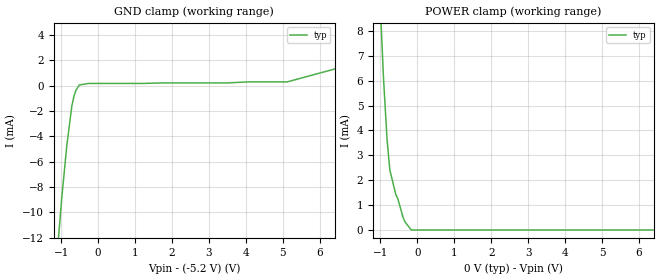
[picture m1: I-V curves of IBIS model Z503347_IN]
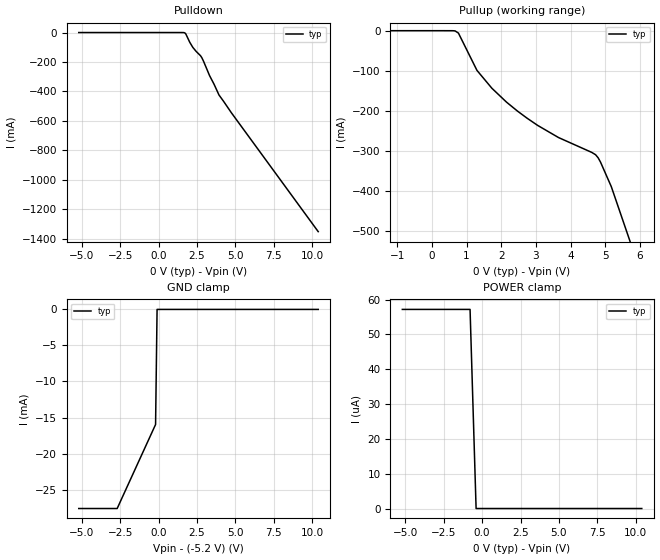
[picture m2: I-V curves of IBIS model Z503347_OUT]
| YOU ARE ONLY AUTHORIZED TO USE THIS SOFTWARE
| ACCORDING TO LICENSOR'S LICENSE RESTRICTIONS.
[IBIS Ver] 3.1
[File Name] mc10131p.ibs
[File Rev] 2.0
[Source] Measured and created by ICX Technology
[Date] Friday 7/14/00 9:07:46 AM
[Copyright]
| (C) COPYRIGHT 1993-2000
| MENTOR GRAPHICS CORPORATION
| ICX STANDARD LIBRARY, ICX PROJECT MODELING,
| ICX CUSTOM MODELING, ICX VENDOR MODEL
| ALL RIGHTS RESERVED.
| THE FOLLOWING ARE TRADEMARKS OR SERVICE MARKS OF
| MENTOR GRAPHICS CORPORATION:ICX (R), ICX STANDARD
| LIBRARY(R), ICX PROJECT MODELING(R), ICX CUSTOM
| MODELING(R), qualityIBIS(TM), MODELVIEWER(TM),
| AND MODELEDITOR(TM)
| ALL COPIES OF SOFTWARE, INCLUDING BUT NOT LIMITED TO
| ANY MODIFICATIONS, ENHANCEMENTS OR DERIVATIVE WORKS,
| MUST CONTAIN ALL MENTOR GRAPHICS CORPORATION'S
| NOTICES AND LEGENDS, INCLUDING THOSE EMBEDDED IN
| SOFTWARE AND THOSE AFFIXED TO SOFTWARE MEDIUM
| AND CONTAINER, AS RECEIVED FROM MENTOR GRAPHICS
| CORPORATION.
|  ZAP Model Builder 2.7
[Component] MC10131P
[Manufacturer] OnSemiconductor
[Package]
| variable   typ   min   max
R_pkg  .212ohms NA NA
L_pkg  4.758nH NA NA
C_pkg  1.143pF NA NA
[Pin] signal_name  model_name  R_pin  L_pin C_pin
1 VCC1 POWER .224 7.258n 1.578p
2 Q1 Z503347_OUT .216 5.258n 1.288p
3 _Q1 Z503347_OUT .208 3.758n .998p
4 R1A Z503347_IN .2 2.758n .708p
5 S1 Z503347_IN .2 2.758n .708p
6 _CE Z503347_IN .208 3.758n .998p
7 D1 Z503347_IN .216 5.258n 1.288p
8 VEE POWER .224 7.258n 1.578p
9 CLK Z503347_IN .224 7.258n 1.578p
10 D2 Z503347_IN .216 5.258n 1.288p
11 _CE Z503347_IN .208 3.758n .998p
12 S2 Z503347_IN .2 2.758n .708p
13 R2A Z503347_IN .2 2.758n .708p
14 _Q2 Z503347_OUT .208 3.758n .998p
15 Q2 Z503347_OUT .216 5.258n 1.288p
16 VCC2 POWER .224 7.258n 1.578p
| Models and submodels in the file (2): Z503347_IN (Input_ECL), Z503347_OUT (Output_ECL)
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| (C) COPYRIGHT 1993-2000
| MENTOR GRAPHICS CORPORATION
| ICX STANDARD LIBRARY, ICX PROJECT MODELING,
| ICX CUSTOM MODELING, ICX VENDOR MODEL
| ALL RIGHTS RESERVED.
| THE FOLLOWING ARE TRADEMARKS OR SERVICE MARKS OF
| MENTOR GRAPHICS CORPORATION:ICX (R), ICX STANDARD
| LIBRARY(R), ICX PROJECT MODELING(R), ICX CUSTOM
| MODELING(R), qualityIBIS(TM), MODELVIEWER(TM),
| AND MODELEDITOR(TM)
| ALL COPIES OF SOFTWARE, INCLUDING BUT NOT LIMITED TO
| ANY MODIFICATIONS, ENHANCEMENTS OR DERIVATIVE WORKS,
| MUST CONTAIN ALL MENTOR GRAPHICS CORPORATION'S
| NOTICES AND LEGENDS, INCLUDING THOSE EMBEDDED IN
| SOFTWARE AND THOSE AFFIXED TO SOFTWARE MEDIUM
| AND CONTAINER, AS RECEIVED FROM MENTOR GRAPHICS
| CORPORATION.
| Model Application Version 1.89 2/18/99.
[Model] Z503347_IN
Model_type Input_ECL
Vinl = -1.475V
Vinh = -1.105V
C_comp 4.000pF NA NA
| variable typ   min   max
[Voltage Range] -5.200V NA NA
[GND Clamp Reference] -5.200V NA NA
[POWER Clamp Reference] 0.000V NA NA
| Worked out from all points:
|   GND clamp passes 1 mA (typ) near -0.67 V on its own axis
|   POWER clamp passes 1 mA (typ) near -0.48 V on its own axis
[GND Clamp]
-5.2V     -223mA     NA         NA
-1.118V   -13.59mA   NA         NA
-986mV    -8.878mA   NA         NA
-850mV    -4.781mA   NA         NA
-712mV    -1.605mA   NA         NA
-654mV    -828.4uA   NA         NA
-596mV    -349.1uA   NA         NA
-513mV    39.29uA    NA         NA
-256.5mV  161.8uA    NA         NA
5.119V    285uA      NA         NA
10.4V     4.45mA     NA         NA
[POWER Clamp]
-5.2V     174.8mA    NA         NA
-1.592V   30.44mA    NA         NA
-1.152V   14.07mA    NA         NA
-917.8mV  6.146mA    NA         NA
-820.9mV  3.664mA    NA         NA
-746mV    2.422mA    NA         NA
-586.2mV  1.438mA    NA         NA
-523.3mV  1.229mA    NA         NA
-389.3mV  514.3uA    NA         NA
-329.6mV  316.3uA    NA         NA
-164.8mV  0A         NA         NA
10.4V     0A         NA         NA
| (C) COPYRIGHT 1993-2000
| MENTOR GRAPHICS CORPORATION
| ICX STANDARD LIBRARY, ICX PROJECT MODELING,
| ICX CUSTOM MODELING, ICX VENDOR MODEL
| ALL RIGHTS RESERVED.
| THE FOLLOWING ARE TRADEMARKS OR SERVICE MARKS OF
| MENTOR GRAPHICS CORPORATION:ICX (R), ICX STANDARD
| LIBRARY(R), ICX PROJECT MODELING(R), ICX CUSTOM
| MODELING(R), qualityIBIS(TM), MODELVIEWER(TM),
| AND MODELEDITOR(TM)
| ALL COPIES OF SOFTWARE, INCLUDING BUT NOT LIMITED TO
| ANY MODIFICATIONS, ENHANCEMENTS OR DERIVATIVE WORKS,
| MUST CONTAIN ALL MENTOR GRAPHICS CORPORATION'S
| NOTICES AND LEGENDS, INCLUDING THOSE EMBEDDED IN
| SOFTWARE AND THOSE AFFIXED TO SOFTWARE MEDIUM
| AND CONTAINER, AS RECEIVED FROM MENTOR GRAPHICS
| CORPORATION.
| Model Application Version 1.89 2/18/99.
[Model] Z503347_OUT
Model_type Output_ECL
Vref=-2.000V
Rref=50.00ohms
Cref=0.000F
Vmeas=-1.290V
C_comp 8.000pF NA NA
| variable typ   min   max
[Voltage Range] -5.200V NA NA
[POWER Clamp Reference] 0.000V NA NA
[Pullup Reference] 0.000V NA NA
[Pulldown Reference] 0.000V NA NA
[GND Clamp Reference] -5.200V NA NA
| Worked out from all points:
|   GND clamp passes 1 mA (typ) near -0.10 V on its own axis
[GND Clamp]
-5.2V     -27.63mA   NA         NA
-2.697V   -27.63mA   NA         NA
-195mV    -15.97mA   NA         NA
-97.5mV   0A         NA         NA
10.4V     0A         NA         NA
[Pulldown]
-5.2V     219.3uA    NA         NA
1.721V    -3.169mA   NA         NA
2.232V    -100.7mA   NA         NA
2.817V    -170.5mA   NA         NA
3.32V     -292.2mA   NA         NA
3.618V    -351.9mA   NA         NA
3.936V    -424.3mA   NA         NA
4.741V    -544.7mA   NA         NA
10.4V     -1.353A    NA         NA
[Pullup]
-5.2V     174uA      NA         NA
666.9mV   -358.6uA   NA         NA
764.5mV   -5.794mA   NA         NA
1.299V    -98.87mA   NA         NA
1.729V    -143.4mA   NA         NA
2.467V    -200.4mA   NA         NA
3.047V    -236mA     NA         NA
3.652V    -266.5mA   NA         NA
4.722V    -309.4mA   NA         NA
4.863V    -327.6mA   NA         NA
5.176V    -389.2mA   NA         NA
10.4V     -1.709A    NA         NA
[POWER Clamp]
-5.2V     57.2uA     NA         NA
-786.4mV  57.2uA     NA         NA
-393.2mV  0A         NA         NA
10.4V     0A         NA         NA
[Ramp]
| variable typ min max
dV/dt_r 525.9m/1.718n NA NA
dV/dt_f 525.9m/1.748n NA NA
R_load = 50.00Ohms
